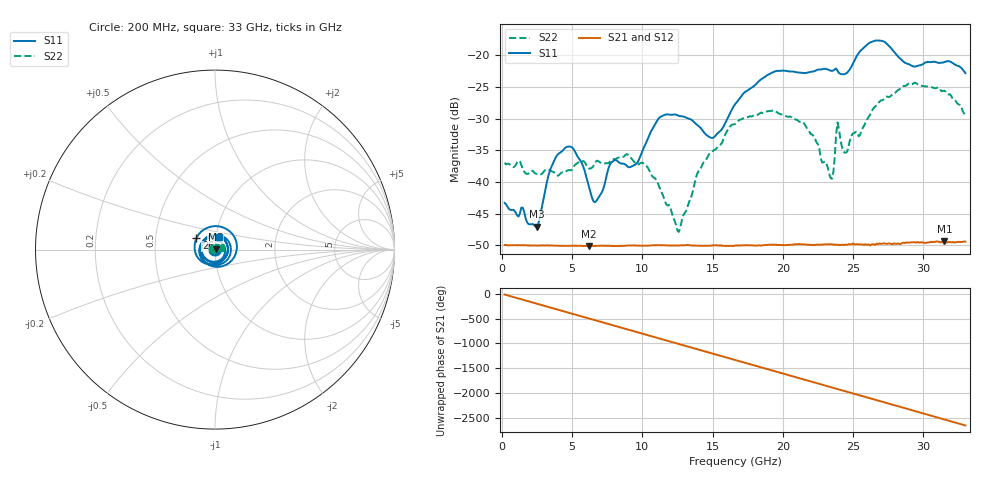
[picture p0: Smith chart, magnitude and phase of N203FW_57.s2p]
# GHZ S RI R 50
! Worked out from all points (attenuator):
!   329 points, 200 MHz to 33 GHz, reference 50 ohm
!   highest |S21| = -49.39 dB at 31.5 GHz (marker M1); lowest = -50.1 dB at 6.2 GHz (marker M2)
!   lowest |S11| = -47.0 dB at 2.5 GHz (marker M3), VSWR 1.01, Z = 50.4 + j0.22 ohm
!   |S11| at or under -10 dB: start of sweep to end of sweep
!   |S22| runs from -47.9 to -24.3 dB; largest |S21 - S12| = 8.8e-05
!   S11 on the Smith chart (normalised r, x): 200 MHz: 1.01, +0.00; 26 GHz: 0.81, +0.10; 33 GHz: 1.03, +0.14
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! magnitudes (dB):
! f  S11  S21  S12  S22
! 200 MHz  -43.3  -50.0  -49.9  -36.9
! 2.5 GHz  -47.0  -50.0  -50.0  -38.7
! 3.9 GHz  -35.9  -50.0  -50.1  -38.9
! 5.7 GHz  -37.0  -50.1  -50.1  -36.7
! 6.2 GHz  -40.7  -50.1  -50.1  -37.9
! 6.6 GHz  -43.2  -50.1  -50.1  -37.1
! 7.8 GHz  -36.9  -50.1  -50.1  -36.5
! 8.9 GHz  -37.4  -50.0  -50.0  -35.6
! 11.2 GHz  -29.9  -50.0  -50.0  -40.7
! 12.6 GHz  -29.5  -50.0  -50.0  -47.9
! 13.9 GHz  -31.0  -50.0  -50.0  -38.7
! 15 GHz  -33.0  -50.0  -50.0  -35.1
! 16.6 GHz  -27.7  -50.0  -50.0  -30.8
! 19.3 GHz  -22.6  -49.9  -49.9  -28.7
! 22.1 GHz  -22.5  -49.9  -49.9  -32.5
! 23.5 GHz  -22.4  -49.8  -49.8  -39.5
! 23.9 GHz  -22.4  -49.9  -49.9  -30.6
! 24.5 GHz  -22.9  -49.9  -49.8  -35.4
! 26 GHz  -18.3  -49.9  -49.9  -30.1
! 27.6 GHz  -18.6  -49.7  -49.7  -26.6
! 31.5 GHz  -21.0  -49.4  -49.3  -25.6
! 33 GHz  -22.8  -49.4  -49.4  -29.3
